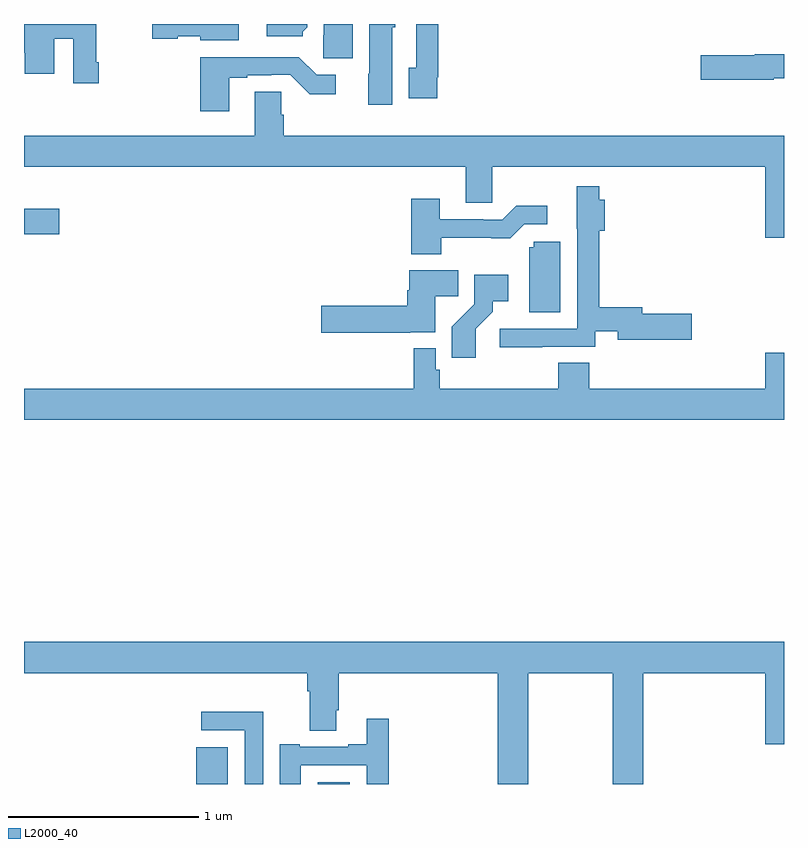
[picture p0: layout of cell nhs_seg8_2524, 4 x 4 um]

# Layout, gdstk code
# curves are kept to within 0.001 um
import gdstk
lib = gdstk.Library(unit=1e-6, precision=1e-09)
def R(c, l, rs):  # rectangles x0, y0, x1, y1
    for r in rs: c.add(gdstk.rectangle(r[:2], r[2:], *l))
def P(c, l, *ps):  # polygons
    for p in ps: c.add(gdstk.Polygon(p, *l))
L2000_40 = (2000, 40)

nhs_seg8_2524 = lib.new_cell('nhs_seg8_2524')
R(nhs_seg8_2524, L2000_40, [(269.906,1131.9,270.073,1132.093), (270.545,1131.9,270.715,1131.91), (269,1134.794,269.185,1134.928)])
P(nhs_seg8_2524, L2000_40, [(270.13,1135.9),(269.676,1135.9),(269.676,1135.823),(269.808,1135.823),(269.808,1135.835),(269.928,1135.835),(269.928,1135.814),(270.13,1135.814)],
  [(270.937,1135.884),(270.955,1135.884),(270.955,1135.9),(270.818,1135.9),(270.818,1135.638),(270.812,1135.638),(270.812,1135.476),(270.937,1135.476)],
  [(269.393,1135.699),(269.38,1135.699),(269.38,1135.9),(269,1135.9),(269,1135.75),(269.003,1135.75),(269.003,1135.638),(269.158,1135.638),(269.158,1135.823),(269.258,1135.823),(269.258,1135.587),(269.393,1135.587)],
  [(271.174,1135.621),(271.181,1135.621),(271.181,1135.9),(271.065,1135.9),(271.065,1135.67),(271.025,1135.67),(271.025,1135.509),(271.174,1135.509)],
  [(270.73,1135.9),(270.578,1135.9),(270.578,1135.842),(270.574,1135.842),(270.574,1135.719),(270.73,1135.719)],
  [(270.468,1135.86),(270.49,1135.882),(270.49,1135.9),(270.278,1135.9),(270.278,1135.835),(270.468,1135.835)],
  [(272.946,1135.614),(273,1135.614),(273,1135.742),(272.846,1135.742),(272.846,1135.735),(272.562,1135.735),(272.562,1135.606),(272.946,1135.606)],
  [(270.079,1135.617),(270.175,1135.617),(270.175,1135.629),(270.302,1135.629),(270.302,1135.632),(270.402,1135.632),(270.505,1135.53),(270.64,1135.53),(270.64,1135.632),(270.54,1135.632),(270.446,1135.726),(269.927,1135.726),(269.927,1135.44),(270.079,1135.44)],
  [(273,1135.312),(270.368,1135.312),(270.368,1135.422),(270.354,1135.422),(270.354,1135.544),(270.215,1135.544),(270.215,1135.312),(269,1135.312),(269,1135.148),(271.325,1135.148),(271.325,1134.958),(271.464,1134.958),(271.464,1135.148),(272.9,1135.148),(272.9,1134.774),(273,1134.774)],
  [(271.727,1134.201),(272.007,1134.201),(272.007,1134.282),(272.126,1134.282),(272.126,1134.239),(272.515,1134.239),(272.515,1134.374),(272.254,1134.374),(272.254,1134.41),(272.027,1134.41),(272.027,1134.811),(272.057,1134.811),(272.057,1134.976),(272.027,1134.976),(272.027,1135.045),(271.91,1135.045),(271.91,1134.822),(271.911,1134.822),(271.911,1134.297),(271.503,1134.297),(271.503,1134.199),(271.727,1134.199)],
  [(271.197,1134.774),(271.559,1134.773),(271.632,1134.846),(271.753,1134.846),(271.753,1134.943),(271.591,1134.943),(271.518,1134.87),(271.418,1134.87),(271.418,1134.873),(271.189,1134.873),(271.189,1134.979),(271.037,1134.979),(271.037,1134.689),(271.197,1134.689)],
  [(271.822,1134.753),(271.683,1134.753),(271.683,1134.726),(271.658,1134.726),(271.658,1134.382),(271.822,1134.382)],
  [(271.032,1134.278),(271.165,1134.278),(271.165,1134.466),(271.286,1134.466),(271.286,1134.604),(271.028,1134.604),(271.028,1134.5),(271.016,1134.5),(271.016,1134.416),(270.564,1134.416),(270.564,1134.274),(271.032,1134.274)],
  [(271.378,1134.295),(271.468,1134.385),(271.468,1134.44),(271.549,1134.44),(271.549,1134.58),(271.371,1134.58),(271.371,1134.425),(271.252,1134.306),(271.252,1134.144),(271.378,1134.144)],
  [(273,1134.169),(272.9,1134.169),(272.9,1133.98),(271.976,1133.98),(271.976,1134.116),(271.811,1134.116),(271.811,1133.98),(271.187,1133.98),(271.187,1134.081),(271.167,1134.081),(271.167,1134.193),(271.051,1134.193),(271.051,1133.98),(269,1133.98),(269,1133.816),(273,1133.816)],
  [(271.653,1132.484),(272.098,1132.484),(272.098,1131.9),(272.258,1131.9),(272.258,1132.484),(272.9,1132.484),(272.9,1132.11),(273,1132.11),(273,1132.648),(269,1132.648),(269,1132.484),(270.491,1132.484),(270.491,1132.388),(270.503,1132.388),(270.503,1132.18),(270.643,1132.18),(270.643,1132.288),(270.656,1132.288),(270.656,1132.484),(271.493,1132.484),(271.493,1131.9),(271.653,1131.9)],
  [(270.258,1132.28),(269.934,1132.28),(269.934,1132.182),(270.162,1132.182),(270.162,1131.9),(270.258,1131.9)],
  [(270.457,1131.999),(270.804,1131.999),(270.804,1131.9),(270.92,1131.9),(270.92,1132.243),(270.803,1132.243),(270.803,1132.108),(270.707,1132.108),(270.707,1132.095),(270.451,1132.095),(270.451,1132.108),(270.347,1132.108),(270.347,1131.9),(270.457,1131.9)])

lib.write_gds('nhs_seg8_2524.gds')
